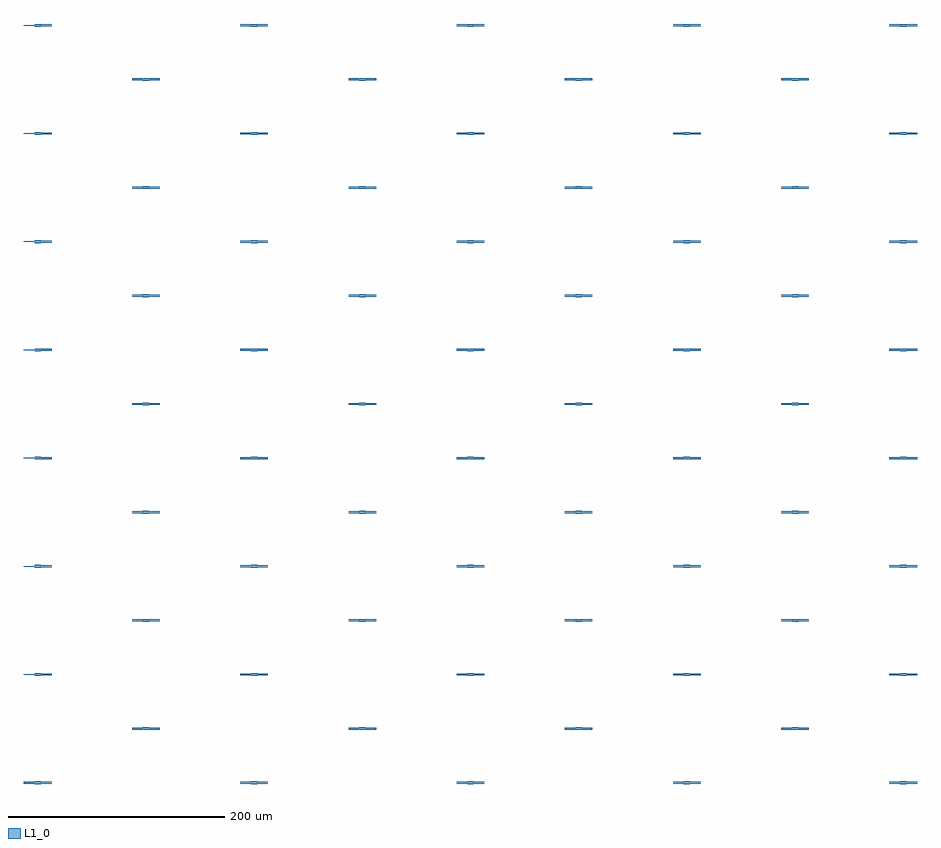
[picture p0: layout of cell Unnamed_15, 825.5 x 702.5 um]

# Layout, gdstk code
import gdstk
lib = gdstk.Library(unit=1e-6, precision=1e-09)
def P(c, l, *ps):  # polygons
    for p in ps: c.add(gdstk.Polygon(p, *l))
L1_0 = (1, 0)

mmi1x2_wnone_wt1_lt10_l_ = lib.new_cell('mmi1x2_WNone_WT1_LT10_L_4e0f7121')
P(mmi1x2_wnone_wt1_lt10_l_, L1_0, [(0,-1.25),(0,-0.5),(-10,-0.25),(-10,0.25),(0,0.5),(0,1.25),(5.5,1.25),(5.5,1.125),(15.5,0.875),(15.5,0.375),(5.5,0.125),(5.5,-0.125),(15.5,-0.375),(15.5,-0.875),(5.5,-1.125),(5.5,-1.25)])

mmi2x2_wnone_wt1_lt10_l_ = lib.new_cell('mmi2x2_WNone_WT1_LT10_L_4ab7dfce')
P(mmi2x2_wnone_wt1_lt10_l_, L1_0, [(0,-1.25),(0,-1.125),(-10,-0.875),(-10,-0.375),(0,-0.125),(0,0.125),(-10,0.375),(-10,0.875),(0,1.125),(0,1.25),(5.5,1.25),(5.5,1.125),(15.5,0.875),(15.5,0.375),(5.5,0.125),(5.5,-0.125),(15.5,-0.375),(15.5,-0.875),(5.5,-1.125),(5.5,-1.25)])

unnamed_15 = lib.new_cell('Unnamed_15')
unnamed_15.add(gdstk.Reference(mmi1x2_wnone_wt1_lt10_l_, (0,0)))
unnamed_15.add(gdstk.Reference(mmi1x2_wnone_wt1_lt10_l_, (0,100)))
unnamed_15.add(gdstk.Reference(mmi1x2_wnone_wt1_lt10_l_, (0,200)))
unnamed_15.add(gdstk.Reference(mmi1x2_wnone_wt1_lt10_l_, (0,300)))
unnamed_15.add(gdstk.Reference(mmi1x2_wnone_wt1_lt10_l_, (0,400)))
unnamed_15.add(gdstk.Reference(mmi1x2_wnone_wt1_lt10_l_, (0,500)))
unnamed_15.add(gdstk.Reference(mmi1x2_wnone_wt1_lt10_l_, (0,600)))
unnamed_15.add(gdstk.Reference(mmi1x2_wnone_wt1_lt10_l_, (0,700)))
unnamed_15.add(gdstk.Reference(mmi2x2_wnone_wt1_lt10_l_, (100,50)))
unnamed_15.add(gdstk.Reference(mmi2x2_wnone_wt1_lt10_l_, (100,150)))
unnamed_15.add(gdstk.Reference(mmi2x2_wnone_wt1_lt10_l_, (100,250)))
unnamed_15.add(gdstk.Reference(mmi2x2_wnone_wt1_lt10_l_, (100,350)))
unnamed_15.add(gdstk.Reference(mmi2x2_wnone_wt1_lt10_l_, (100,450)))
unnamed_15.add(gdstk.Reference(mmi2x2_wnone_wt1_lt10_l_, (100,550)))
unnamed_15.add(gdstk.Reference(mmi2x2_wnone_wt1_lt10_l_, (100,650)))
unnamed_15.add(gdstk.Reference(mmi2x2_wnone_wt1_lt10_l_, (200,0)))
unnamed_15.add(gdstk.Reference(mmi2x2_wnone_wt1_lt10_l_, (200,100)))
unnamed_15.add(gdstk.Reference(mmi2x2_wnone_wt1_lt10_l_, (200,200)))
unnamed_15.add(gdstk.Reference(mmi2x2_wnone_wt1_lt10_l_, (200,300)))
unnamed_15.add(gdstk.Reference(mmi2x2_wnone_wt1_lt10_l_, (200,400)))
unnamed_15.add(gdstk.Reference(mmi2x2_wnone_wt1_lt10_l_, (200,500)))
unnamed_15.add(gdstk.Reference(mmi2x2_wnone_wt1_lt10_l_, (200,600)))
unnamed_15.add(gdstk.Reference(mmi2x2_wnone_wt1_lt10_l_, (200,700)))
unnamed_15.add(gdstk.Reference(mmi2x2_wnone_wt1_lt10_l_, (300,50)))
unnamed_15.add(gdstk.Reference(mmi2x2_wnone_wt1_lt10_l_, (300,150)))
unnamed_15.add(gdstk.Reference(mmi2x2_wnone_wt1_lt10_l_, (300,250)))
unnamed_15.add(gdstk.Reference(mmi2x2_wnone_wt1_lt10_l_, (300,350)))
unnamed_15.add(gdstk.Reference(mmi2x2_wnone_wt1_lt10_l_, (300,450)))
unnamed_15.add(gdstk.Reference(mmi2x2_wnone_wt1_lt10_l_, (300,550)))
unnamed_15.add(gdstk.Reference(mmi2x2_wnone_wt1_lt10_l_, (300,650)))
unnamed_15.add(gdstk.Reference(mmi2x2_wnone_wt1_lt10_l_, (400,0)))
unnamed_15.add(gdstk.Reference(mmi2x2_wnone_wt1_lt10_l_, (400,100)))
unnamed_15.add(gdstk.Reference(mmi2x2_wnone_wt1_lt10_l_, (400,200)))
unnamed_15.add(gdstk.Reference(mmi2x2_wnone_wt1_lt10_l_, (400,300)))
unnamed_15.add(gdstk.Reference(mmi2x2_wnone_wt1_lt10_l_, (400,400)))
unnamed_15.add(gdstk.Reference(mmi2x2_wnone_wt1_lt10_l_, (400,500)))
unnamed_15.add(gdstk.Reference(mmi2x2_wnone_wt1_lt10_l_, (400,600)))
unnamed_15.add(gdstk.Reference(mmi2x2_wnone_wt1_lt10_l_, (400,700)))
unnamed_15.add(gdstk.Reference(mmi2x2_wnone_wt1_lt10_l_, (500,50)))
unnamed_15.add(gdstk.Reference(mmi2x2_wnone_wt1_lt10_l_, (500,150)))
unnamed_15.add(gdstk.Reference(mmi2x2_wnone_wt1_lt10_l_, (500,250)))
unnamed_15.add(gdstk.Reference(mmi2x2_wnone_wt1_lt10_l_, (500,350)))
unnamed_15.add(gdstk.Reference(mmi2x2_wnone_wt1_lt10_l_, (500,450)))
unnamed_15.add(gdstk.Reference(mmi2x2_wnone_wt1_lt10_l_, (500,550)))
unnamed_15.add(gdstk.Reference(mmi2x2_wnone_wt1_lt10_l_, (500,650)))
unnamed_15.add(gdstk.Reference(mmi2x2_wnone_wt1_lt10_l_, (600,0)))
unnamed_15.add(gdstk.Reference(mmi2x2_wnone_wt1_lt10_l_, (600,100)))
unnamed_15.add(gdstk.Reference(mmi2x2_wnone_wt1_lt10_l_, (600,200)))
unnamed_15.add(gdstk.Reference(mmi2x2_wnone_wt1_lt10_l_, (600,300)))
unnamed_15.add(gdstk.Reference(mmi2x2_wnone_wt1_lt10_l_, (600,400)))
unnamed_15.add(gdstk.Reference(mmi2x2_wnone_wt1_lt10_l_, (600,500)))
unnamed_15.add(gdstk.Reference(mmi2x2_wnone_wt1_lt10_l_, (600,600)))
unnamed_15.add(gdstk.Reference(mmi2x2_wnone_wt1_lt10_l_, (600,700)))
unnamed_15.add(gdstk.Reference(mmi2x2_wnone_wt1_lt10_l_, (700,50)))
unnamed_15.add(gdstk.Reference(mmi2x2_wnone_wt1_lt10_l_, (700,150)))
unnamed_15.add(gdstk.Reference(mmi2x2_wnone_wt1_lt10_l_, (700,250)))
unnamed_15.add(gdstk.Reference(mmi2x2_wnone_wt1_lt10_l_, (700,350)))
unnamed_15.add(gdstk.Reference(mmi2x2_wnone_wt1_lt10_l_, (700,450)))
unnamed_15.add(gdstk.Reference(mmi2x2_wnone_wt1_lt10_l_, (700,550)))
unnamed_15.add(gdstk.Reference(mmi2x2_wnone_wt1_lt10_l_, (700,650)))
unnamed_15.add(gdstk.Reference(mmi2x2_wnone_wt1_lt10_l_, (800,0)))
unnamed_15.add(gdstk.Reference(mmi2x2_wnone_wt1_lt10_l_, (800,100)))
unnamed_15.add(gdstk.Reference(mmi2x2_wnone_wt1_lt10_l_, (800,200)))
unnamed_15.add(gdstk.Reference(mmi2x2_wnone_wt1_lt10_l_, (800,300)))
unnamed_15.add(gdstk.Reference(mmi2x2_wnone_wt1_lt10_l_, (800,400)))
unnamed_15.add(gdstk.Reference(mmi2x2_wnone_wt1_lt10_l_, (800,500)))
unnamed_15.add(gdstk.Reference(mmi2x2_wnone_wt1_lt10_l_, (800,600)))
unnamed_15.add(gdstk.Reference(mmi2x2_wnone_wt1_lt10_l_, (800,700)))
unnamed_15.add(gdstk.Reference(mmi2x2_wnone_wt1_lt10_l_, (0,0)))
unnamed_15.add(gdstk.Reference(mmi2x2_wnone_wt1_lt10_l_, (0,0)))
unnamed_15.add(gdstk.Reference(mmi2x2_wnone_wt1_lt10_l_, (0,0)))

lib.write_gds('Unnamed_15.gds')
